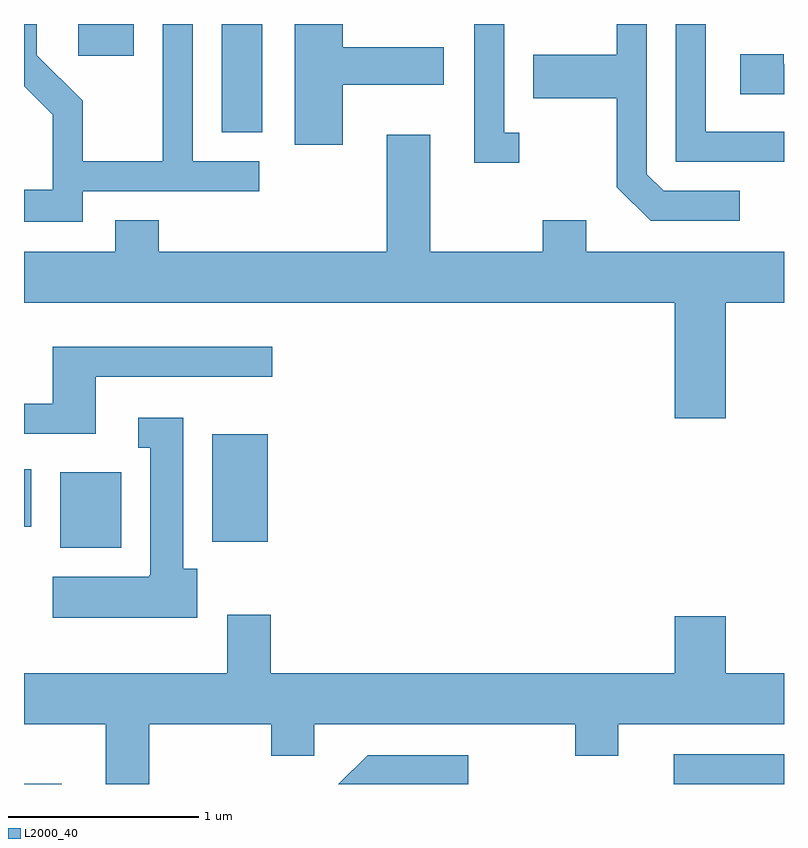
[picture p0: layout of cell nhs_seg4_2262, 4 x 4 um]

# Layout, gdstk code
import gdstk
lib = gdstk.Library(unit=1e-6, precision=1e-09)
def R(c, l, rs):  # rectangles x0, y0, x1, y1
    for r in rs: c.add(gdstk.rectangle(r[:2], r[2:], *l))
def P(c, l, *ps):  # polygons
    for p in ps: c.add(gdstk.Polygon(p, *l))
L2000_40 = (2000, 40)

nhs_seg4_2262 = lib.new_cell('nhs_seg4_2262')
R(nhs_seg4_2262, L2000_40, [(251.611,1289.982,251.809,1289.984), (255.031,1289.982,255.611,1290.139), (251.801,1291.226,252.124,1291.624), (252.601,1291.256,252.894,1291.824), (251.611,1291.336,251.649,1291.639), (252.651,1293.411,252.864,1293.982), (251.896,1293.816,252.189,1293.982)])
P(nhs_seg4_2262, L2000_40, [(255.378,1293.104),(254.977,1293.104),(254.889,1293.192),(254.889,1293.982),(254.731,1293.982),(254.731,1293.819),(254.291,1293.819),(254.291,1293.591),(254.731,1293.591),(254.731,1293.124),(254.909,1292.946),(255.378,1292.946)],
  [(255.611,1293.414),(255.199,1293.414),(255.199,1293.982),(255.041,1293.982),(255.041,1293.256),(255.611,1293.256)],
  [(254.218,1293.409),(254.139,1293.409),(254.139,1293.982),(253.981,1293.982),(253.981,1293.251),(254.218,1293.251)],
  [(253.289,1293.661),(253.819,1293.661),(253.819,1293.859),(253.289,1293.859),(253.289,1293.982),(253.036,1293.982),(253.036,1293.346),(253.289,1293.346)],
  [(251.919,1293.101),(252.848,1293.101),(252.848,1293.259),(252.499,1293.259),(252.499,1293.982),(252.341,1293.982),(252.341,1293.259),(251.919,1293.259),(251.919,1293.577),(251.679,1293.817),(251.679,1293.982),(251.611,1293.982),(251.611,1293.654),(251.761,1293.504),(251.761,1293.109),(251.611,1293.109),(251.611,1292.941),(251.919,1292.941)],
  [(255.611,1293.769),(255.609,1293.769),(255.609,1293.824),(255.381,1293.824),(255.381,1293.611),(255.611,1293.611)],
  [(255.304,1292.516),(255.611,1292.516),(255.611,1292.784),(254.569,1292.784),(254.569,1292.949),(254.341,1292.949),(254.341,1292.784),(253.749,1292.784),(253.749,1293.399),(253.521,1293.399),(253.521,1292.784),(252.319,1292.784),(252.319,1292.949),(252.091,1292.949),(252.091,1292.784),(251.611,1292.784),(251.611,1292.516),(255.036,1292.516),(255.036,1291.906),(255.304,1291.906)],
  [(251.989,1292.126),(252.918,1292.126),(252.918,1292.284),(251.761,1292.284),(251.761,1291.984),(251.611,1291.984),(251.611,1291.826),(251.989,1291.826)],
  [(252.524,1291.114),(252.449,1291.114),(252.449,1291.909),(252.213,1291.909),(252.213,1291.751),(252.276,1291.751),(252.276,1291.08),(252.27,1291.08),(252.27,1291.074),(251.761,1291.074),(251.761,1290.856),(252.524,1290.856)],
  [(251.611,1290.296),(252.041,1290.296),(252.041,1289.982),(252.269,1289.982),(252.269,1290.296),(252.911,1290.296),(252.911,1290.131),(253.139,1290.131),(253.139,1290.296),(254.511,1290.296),(254.511,1290.131),(254.739,1290.131),(254.739,1290.296),(255.611,1290.296),(255.611,1290.564),(255.304,1290.564),(255.304,1290.864),(255.036,1290.864),(255.036,1290.564),(252.909,1290.564),(252.909,1290.874),(252.681,1290.874),(252.681,1290.564),(251.611,1290.564)],
  [(253.948,1290.134),(253.419,1290.134),(253.266,1289.982),(253.948,1289.982)])

lib.write_gds('nhs_seg4_2262.gds')
